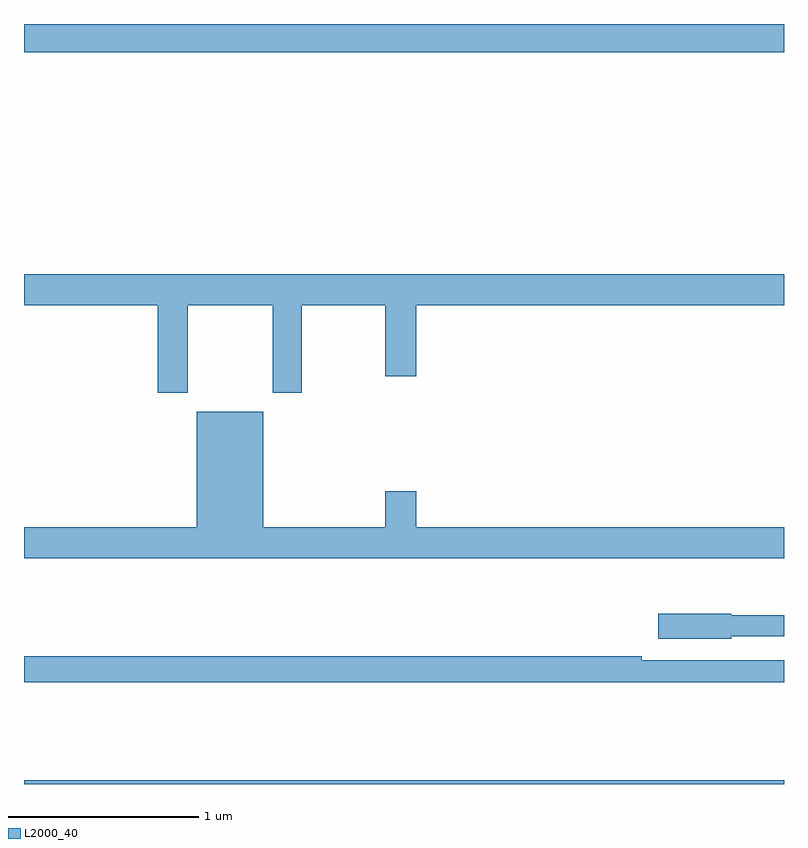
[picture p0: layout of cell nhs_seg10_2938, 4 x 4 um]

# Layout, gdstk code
import gdstk
lib = gdstk.Library(unit=1e-6, precision=1e-09)
def R(c, l, rs):  # rectangles x0, y0, x1, y1
    for r in rs: c.add(gdstk.rectangle(r[:2], r[2:], *l))
def P(c, l, *ps):  # polygons
    for p in ps: c.add(gdstk.Polygon(p, *l))
L2000_40 = (2000, 40)

nhs_seg10_2938 = lib.new_cell('nhs_seg10_2938')
R(nhs_seg10_2938, L2000_40, [(271,1260.5,275,1260.52), (271,1264.352,275,1264.5)])
P(nhs_seg10_2938, L2000_40, [(271,1263.02),(271.703,1263.02),(271.703,1262.559),(271.863,1262.559),(271.863,1263.02),(272.308,1263.02),(272.308,1262.559),(272.463,1262.559),(272.463,1263.02),(272.9,1263.02),(272.9,1262.646),(273.064,1262.646),(273.064,1263.02),(275,1263.02),(275,1263.184),(271,1263.184)],
  [(275,1261.852),(273.064,1261.852),(273.064,1262.041),(272.9,1262.041),(272.9,1261.852),(272.26,1261.852),(272.26,1262.458),(271.91,1262.458),(271.91,1261.852),(271,1261.852),(271,1261.688),(275,1261.688)],
  [(274.722,1261.278),(275,1261.278),(275,1261.387),(274.722,1261.387),(274.722,1261.395),(274.338,1261.395),(274.338,1261.265),(274.722,1261.265)],
  [(275,1261.152),(274.25,1261.152),(274.25,1261.172),(271,1261.172),(271,1261.036),(275,1261.036)])

lib.write_gds('nhs_seg10_2938.gds')
